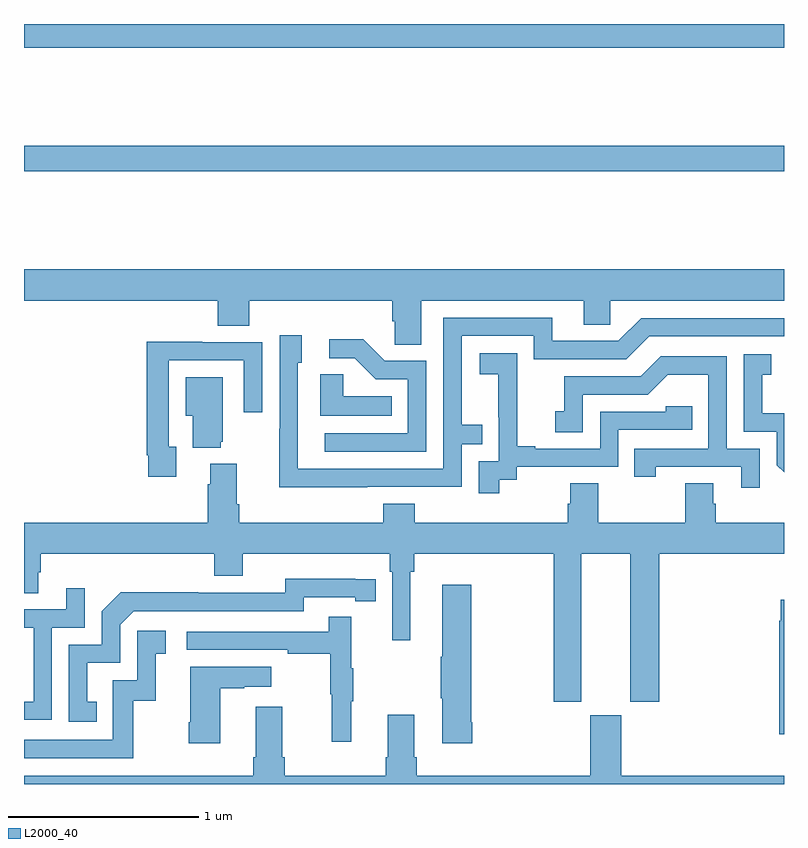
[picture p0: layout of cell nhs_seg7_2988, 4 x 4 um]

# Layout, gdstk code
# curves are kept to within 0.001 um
import gdstk
lib = gdstk.Library(unit=1e-6, precision=1e-09)
def R(c, l, rs):  # rectangles x0, y0, x1, y1
    for r in rs: c.add(gdstk.rectangle(r[:2], r[2:], *l))
def P(c, l, *ps):  # polygons
    for p in ps: c.add(gdstk.Polygon(p, *l))
L2000_40 = (2000, 40)

nhs_seg7_2988 = lib.new_cell('nhs_seg7_2988')
R(nhs_seg7_2988, L2000_40, [(301,1073.224,305,1073.36), (301,1073.876,305,1074)])
P(nhs_seg7_2988, L2000_40, [(303.091,1072.544),(303.947,1072.544),(303.947,1072.417),(304.086,1072.417),(304.086,1072.544),(305,1072.544),(305,1072.708),(301,1072.708),(301,1072.544),(302.021,1072.544),(302.021,1072.411),(302.186,1072.411),(302.186,1072.544),(302.939,1072.544),(302.939,1072.435),(302.952,1072.435),(302.952,1072.312),(303.091,1072.312)],
  [(302.807,1071.564),(303.303,1071.564),(303.303,1071.789),(303.413,1071.789),(303.413,1071.89),(303.303,1071.89),(303.303,1072.359),(303.684,1072.359),(303.684,1072.236),(304.17,1072.236),(304.29,1072.356),(305,1072.356),(305,1072.452),(304.248,1072.452),(304.128,1072.332),(303.781,1072.332),(303.781,1072.455),(303.207,1072.455),(303.207,1071.66),(302.442,1071.66),(302.442,1072.218),(302.461,1072.218),(302.461,1072.363),(302.346,1072.363),(302.346,1071.869),(302.344,1071.869),(302.344,1071.563)],
  [(303.117,1072.227),(302.898,1072.227),(302.785,1072.34),(302.607,1072.34),(302.607,1072.242),(302.741,1072.242),(302.852,1072.131),(303.021,1072.131),(303.021,1071.846),(302.583,1071.846),(302.583,1071.75),(303.117,1071.75)],
  [(301.801,1071.774),(301.761,1071.774),(301.761,1072.23),(302.157,1072.23),(302.157,1071.957),(302.253,1071.957),(302.253,1072.326),(301.937,1072.326),(301.937,1072.328),(301.645,1072.328),(301.645,1071.73),(301.653,1071.73),(301.653,1071.618),(301.801,1071.618)],
  [(303.502,1071.601),(303.594,1071.601),(303.594,1071.669),(304.128,1071.669),(304.128,1071.864),(304.517,1071.864),(304.517,1071.987),(304.377,1071.987),(304.377,1071.96),(304.032,1071.96),(304.032,1071.765),(303.691,1071.765),(303.691,1071.778),(303.596,1071.778),(303.596,1072.061),(303.597,1072.061),(303.597,1072.267),(303.399,1072.267),(303.399,1072.157),(303.497,1072.157),(303.497,1071.929),(303.498,1071.929),(303.498,1071.699),(303.393,1071.699),(303.393,1071.531),(303.502,1071.531)],
  [(305,1071.951),(304.885,1071.951),(304.885,1072.155),(304.934,1072.155),(304.934,1072.261),(304.788,1072.261),(304.788,1071.855),(304.962,1071.855),(304.962,1071.678),(305,1071.64)],
  [(304.872,1071.765),(304.698,1071.765),(304.698,1072.251),(304.352,1072.251),(304.247,1072.146),(303.844,1072.146),(303.844,1071.961),(303.795,1071.961),(303.795,1071.852),(303.942,1071.852),(303.942,1072.05),(304.284,1072.05),(304.388,1072.154),(304.602,1072.154),(304.602,1071.765),(304.213,1071.765),(304.213,1071.618),(304.324,1071.618),(304.324,1071.669),(304.775,1071.669),(304.775,1071.558),(304.872,1071.558)],
  [(302.936,1072.042),(302.679,1072.042),(302.679,1072.157),(302.558,1072.157),(302.558,1071.938),(302.936,1071.938)],
  [(302.036,1071.801),(302.047,1071.801),(302.047,1072.141),(301.85,1072.141),(301.85,1071.938),(301.889,1071.938),(301.889,1071.77),(302.036,1071.77)],
  [(302.891,1071.475),(302.891,1071.376),(302.132,1071.376),(302.132,1071.472),(302.119,1071.472),(302.119,1071.685),(301.979,1071.685),(301.979,1071.578),(301.967,1071.578),(301.967,1071.376),(301,1071.376),(301,1071.004),(301.075,1071.004),(301.075,1071.114),(301.088,1071.114),(301.088,1071.212),(302,1071.212),(302,1071.095),(302.152,1071.095),(302.152,1071.212),(302.924,1071.212),(302.924,1071.116),(302.937,1071.116),(302.937,1070.757),(303.034,1070.757),(303.034,1071.116),(303.053,1071.116),(303.053,1071.212),(303.787,1071.212),(303.787,1070.433),(303.934,1070.433),(303.934,1071.212),(304.19,1071.212),(304.19,1070.433),(304.343,1070.433),(304.343,1071.212),(305,1071.212),(305,1071.376),(304.64,1071.376),(304.64,1071.474),(304.627,1071.474),(304.627,1071.584),(304.48,1071.584),(304.48,1071.376),(304.023,1071.376),(304.023,1071.584),(303.875,1071.584),(303.875,1071.474),(303.863,1071.474),(303.863,1071.376),(303.056,1071.376),(303.056,1071.475)],
  [(301.382,1070.433),(301.333,1070.433),(301.333,1070.637),(301.506,1070.637),(301.506,1070.838),(301.578,1070.91),(302.472,1070.91),(302.472,1070.982),(302.744,1070.982),(302.744,1070.962),(302.852,1070.962),(302.852,1071.078),(302.376,1071.079),(302.376,1071.006),(301.916,1071.006),(301.916,1071.008),(301.508,1071.008),(301.41,1070.91),(301.41,1070.733),(301.236,1070.733),(301.236,1070.328),(301.382,1070.328)],
  [(303.359,1070.326),(303.354,1070.326),(303.354,1071.049),(303.2,1071.049),(303.2,1070.669),(303.193,1070.669),(303.193,1070.452),(303.2,1070.452),(303.2,1070.214),(303.359,1070.214)],
  [(301.146,1070.823),(301.32,1070.823),(301.32,1071.031),(301.223,1071.031),(301.223,1070.919),(301,1070.919),(301,1070.823),(301.05,1070.823),(301.05,1070.434),(301,1070.434),(301,1070.337),(301.146,1070.337)],
  [(305,1070.971),(304.983,1070.971),(304.983,1070.858),(304.975,1070.858),(304.975,1070.261),(305,1070.261)],
  [(302.723,1070.435),(302.734,1070.435),(302.734,1070.609),(302.723,1070.609),(302.723,1070.881),(302.605,1070.881),(302.605,1070.802),(301.857,1070.802),(301.857,1070.706),(302.389,1070.706),(302.389,1070.686),(302.613,1070.686),(302.613,1070.472),(302.62,1070.472),(302.62,1070.223),(302.723,1070.223)],
  [(301.576,1070.439),(301.694,1070.439),(301.694,1070.685),(301.747,1070.685),(301.747,1070.806),(301.596,1070.806),(301.596,1070.547),(301.467,1070.547),(301.467,1070.232),(301,1070.232),(301,1070.136),(301.576,1070.136)],
  [(302.032,1070.503),(302.159,1070.503),(302.159,1070.513),(302.302,1070.513),(302.302,1070.617),(301.874,1070.617),(301.874,1070.326),(301.867,1070.326),(301.867,1070.214),(302.032,1070.214)],
  [(305,1070.044),(304.144,1070.044),(304.144,1070.361),(303.98,1070.361),(303.98,1070.044),(303.068,1070.044),(303.068,1070.14),(303.055,1070.14),(303.055,1070.365),(302.915,1070.365),(302.915,1070.14),(302.903,1070.14),(302.903,1070.044),(302.372,1070.044),(302.372,1070.14),(302.359,1070.14),(302.359,1070.407),(302.219,1070.407),(302.219,1070.14),(302.207,1070.14),(302.207,1070.044),(301,1070.044),(301,1070),(305,1070)])

lib.write_gds('nhs_seg7_2988.gds')
